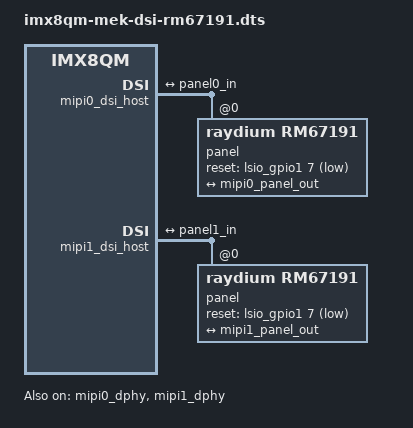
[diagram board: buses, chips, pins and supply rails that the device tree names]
// SPDX-License-Identifier: GPL-2.0+
/*
 * Copyright 2019 NXP
 */

/dts-v1/;

#include "imx8qm-mek.dts"

/delete-node/ &adv_bridge0;
/delete-node/ &adv_bridge1;

&mipi0_dphy {
	status = "okay";
};

&mipi0_dsi_host {
	#address-cells = <1>;
	#size-cells = <0>;
	status = "okay";

	panel@0 {
		compatible = "raydium,rm67191";
		reg = <0>;
		pinctrl-0 = <&pinctrl_mipi_dsi_0_1_en>;
		pinctrl-names = "default";
		reset-gpios = <&lsio_gpio1 7 GPIO_ACTIVE_LOW>;
		dsi-lanes = <4>;
		video-mode = <2>;
		width-mm = <68>;
		height-mm = <121>;

		port {
			panel0_in: endpoint {
				remote-endpoint = <&mipi0_panel_out>;
			};
		};
	};

	ports {
		/delete-node/ port@1;

		port@1 {
			reg = <1>;
			mipi0_panel_out: endpoint {
				remote-endpoint = <&panel0_in>;
			};
		};
	};
};

&mipi1_dphy {
	status = "okay";
};

&mipi1_dsi_host {
	#address-cells = <1>;
	#size-cells = <0>;
	status = "okay";

	panel@0 {
		compatible = "raydium,rm67191";
		reg = <0>;
		reset-gpios = <&lsio_gpio1 7 GPIO_ACTIVE_LOW>;
		dsi-lanes = <4>;
		video-mode = <2>;
		width-mm = <68>;
		height-mm = <121>;

		port {
			panel1_in: endpoint {
				remote-endpoint = <&mipi1_panel_out>;
			};
		};
	};

	ports {
		/delete-node/ port@1;

		port@1 {
			reg = <1>;
			mipi1_panel_out: endpoint {
				remote-endpoint = <&panel1_in>;
			};
		};
	};
};

&iomuxc {
	pinctrl_mipi_dsi_0_1_en: mipi_dsi_0_1_en {
		fsl,pins = <
			IMX8QM_LVDS0_I2C0_SDA_LSIO_GPIO1_IO07             0x00000021
		>;
	};
};
